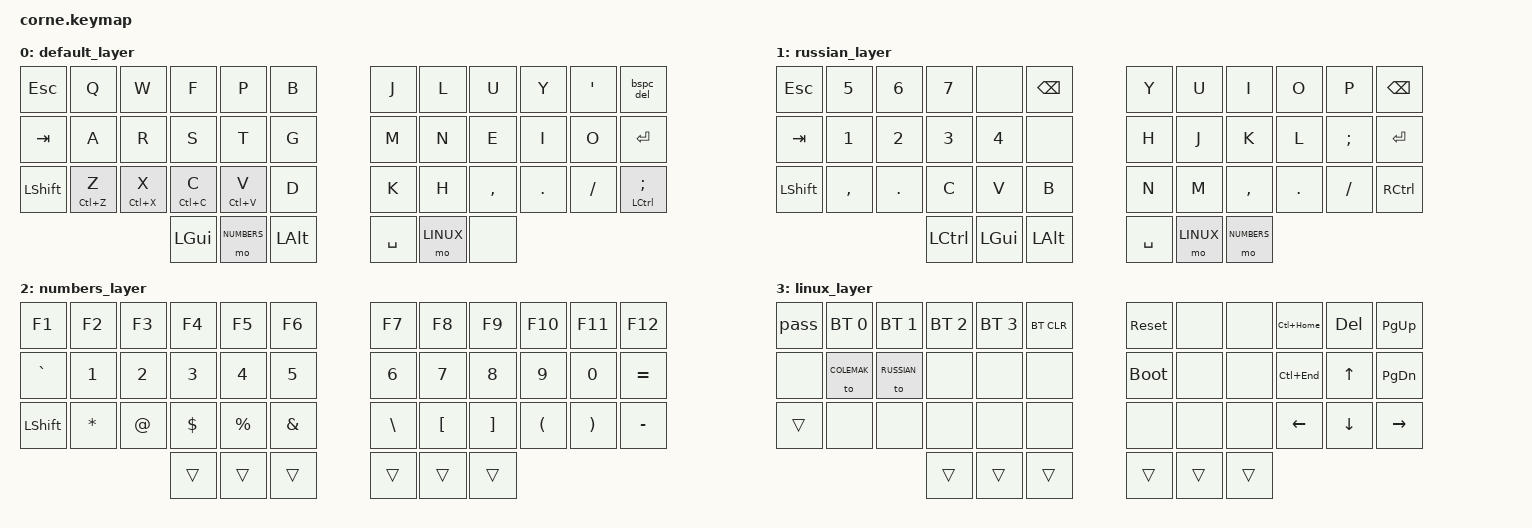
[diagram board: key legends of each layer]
#include <behaviors.dtsi>
#include <dt-bindings/zmk/keys.h>
#include <dt-bindings/zmk/bt.h>

#define COLEMAK 0
#define RUSSIAN 1
#define NUMBERS 2
#define LINUX   3

&mt {
    tapping-term-ms = <300>;
    flavor = "tap-unless-interrupted";
};

/ {
    behaviors {
        bspc_del: backspace_delete {
            compatible = "zmk,behavior-mod-morph";
            #binding-cells = <0>;
            bindings = <&kp BKSP>, <&kp DEL>;
            mods = <(MOD_LSFT|MOD_RSFT)>;
        };
        ht_sc: hold_tap_shortcut {
            compatible = "zmk,behavior-hold-tap";
            #binding-cells = <2>;
            flavor = "hold-preferred";
            tapping-term-ms = <300>;
            bindings = <&kp>, <&kp>;
        };
    };

    macros {
        pass: pass {
            compatible = "zmk,behavior-macro";
            #binding-cells = <0>;
            bindings = <&kp DOT &kp LS(L) &kp O &kp G &kp I &kp M &kp A &kp X &kp DOT>;
        };
    };

    keymap {
        compatible = "zmk,keymap";

        default_layer {
            // -----------------------------------------------------------------------------------------
            // |  ESC |  Q  |  W  |  F  |  P  |  B  |   |  J  |  L   |  U  |  Y  |  '  | BKSP/DEL |
            // |  TAB |  A  |  R  |  S  |  T  |  G  |   |  M  |  N   |  E  |  I  |  O  | ENT  |
            // | SHFT | CTRL/Z | CTRL/X | CTRL/C | CTRL/V |  D  |   |  K  |  H   |  ,  |  .  |  /  | ;/CTRL |
            //                    | GUI | NUM | ALT |   | SPC | LINUX |    |
            bindings = <
    &kp ESC   &kp Q &kp W &kp F &kp P &kp B   &kp J &kp L  &kp U      &kp Y   &kp SQT  &bspc_del
    &kp TAB   &kp A &kp R &kp S &kp T &kp G   &kp M &kp N  &kp E      &kp I   &kp O    &kp RET
    &kp LSHFT &ht_sc LC(Z) Z &ht_sc LC(X) X  &ht_sc LC(C) C &ht_sc LC(V) V &kp D   &kp K &kp H  &kp COMMA &kp DOT &kp FSLH &mt LCTRL SEMI
                  &kp LGUI &mo NUMBERS &kp LALT   &kp SPACE &mo LINUX &none
            >;
        };

        russian_layer {
            // Placeholder for your Russian layout
            bindings = <
    &kp ESC   &kp N5 &kp N6 &kp N7 &none &kp BKSP   &kp Y &kp U  &kp I   &kp O   &kp P    &kp BKSP
    &kp TAB   &kp N1 &kp N2 &kp N3 &kp N4 &none   &kp H &kp J  &kp K   &kp L   &kp SEMI &kp RET
    &kp LSHFT &kp COMMA &kp DOT &kp C &kp V &kp B   &kp N &kp M  &kp COMMA &kp DOT &kp FSLH &kp RCTRL
                  &kp LCTRL &kp LGUI &kp LALT   &kp SPACE &mo LINUX &mo NUMBERS
            >;
        };

        numbers_layer {
            // -----------------------------------------------------------------------------------------
            // | F1 | F2  | F3  | F4  | F5  | F6  |   | F7  | F8   | F9  | F10 | F11 | F12 |
            // |  ` |  1  |  2  |  3  |  4  |  5  |   |  6  |  7   |  8  |  9  |  0  |  =  |
            // | SHFT |  * |  @  |  $  |  %  |  &  |   |  \  |  [   |  ]  |  (  |  )  |  -  |
            //                    |     |     |     |   |     |      |     |
            bindings = <
    &kp F1    &kp F2    &kp F3 &kp F4    &kp F5    &kp F6       &kp F7   &kp F8   &kp F9   &kp F10  &kp F11  &kp F12
    &kp GRAVE &kp N1    &kp N2 &kp N3    &kp N4    &kp N5       &kp N6   &kp N7   &kp N8   &kp N9   &kp N0   &kp EQUAL
    &kp LSHIFT &kp ASTRK &kp AT &kp DLLR  &kp PRCNT &kp AMPS     &kp BSLH &kp LBKT &kp RBKT &kp LPAR &kp RPAR &kp MINUS
                               &trans    &trans    &trans       &trans   &trans   &trans
            >;
        };

        linux_layer {
            // -----------------------------------------------------------------------------------------
            // |User| BL_0 | BL_1 | BL_2 | BL_3 | CLR |     | RESET |      |       | HOME | DEL  | PGUP  |
            // |    | ENG | RUS |     |     |     |         | LOAD  |      |       | END  |  UP  |PGDOWN |
            // |    |     |     |     |     |     |         |       |      |       | LEFT | DOWN | RIGHT |
            //                    |     |     |     |          |     |      |     |
            bindings = <
    &pass      &bt BT_SEL 0 &bt BT_SEL 1 &bt BT_SEL 2 &bt BT_SEL 3 &bt BT_CLR      &sys_reset &none &none &kp LC(HOME) &kp DEL &kp PG_UP
    &none      &to COLEMAK       &to RUSSIAN       &none &none &none               &bootloader &none &none &kp LC(END)  &kp UP   &kp PG_DN
    &trans     &none       &none       &none &none &none                           &none &none &none &kp LEFT     &kp DOWN &kp RIGHT
                                       &trans &trans &trans                              &trans &trans &trans
            >;
        };

    };
};
